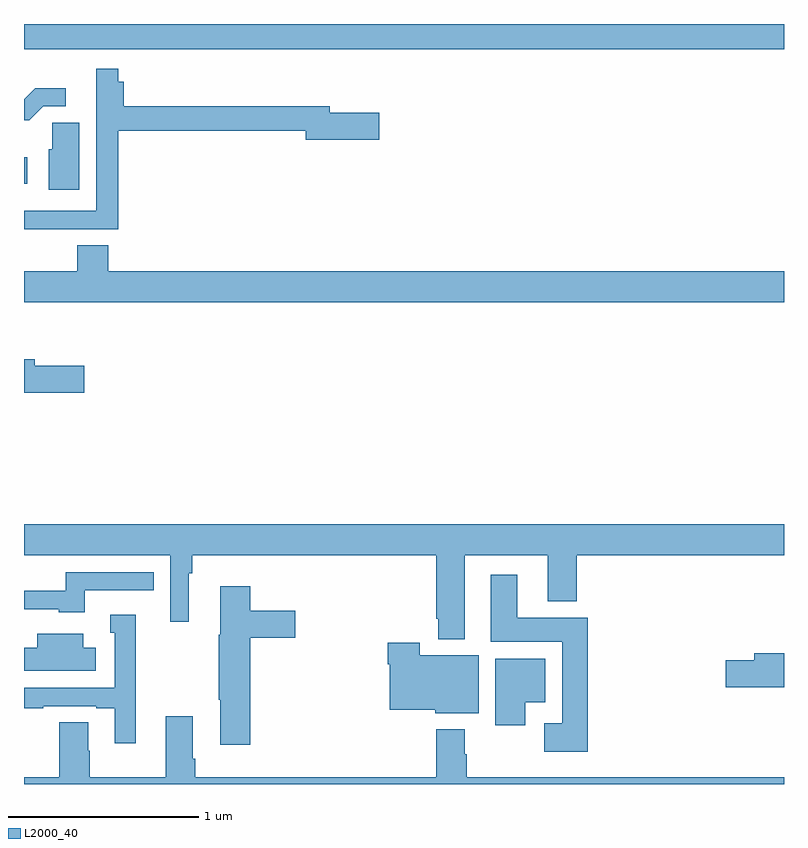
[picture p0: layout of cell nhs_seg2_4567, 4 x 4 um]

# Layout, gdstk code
import gdstk
lib = gdstk.Library(unit=1e-6, precision=1e-09)
def R(c, l, rs):  # rectangles x0, y0, x1, y1
    for r in rs: c.add(gdstk.rectangle(r[:2], r[2:], *l))
def P(c, l, *ps):  # polygons
    for p in ps: c.add(gdstk.Polygon(p, *l))
L2000_40 = (2000, 40)

nhs_seg2_4567 = lib.new_cell('nhs_seg2_4567')
R(nhs_seg2_4567, L2000_40, [(359,614.96,359.017,615.1), (359,615.668,363,615.8)])
P(nhs_seg2_4567, L2000_40, [(359.195,614.721),(359.495,614.721),(359.495,615.238),(360.482,615.238),(360.482,615.191),(360.871,615.191),(360.871,615.333),(360.61,615.333),(360.61,615.367),(359.525,615.367),(359.525,615.496),(359.495,615.496),(359.495,615.565),(359.379,615.565),(359.379,614.817),(359,614.817),(359,614.719),(359.195,614.719)],
  [(359.1,615.366),(359.221,615.366),(359.221,615.463),(359.059,615.463),(359,615.404),(359,615.293),(359.027,615.293)],
  [(359.29,615.281),(359.148,615.281),(359.148,615.141),(359.129,615.141),(359.129,614.928),(359.29,614.928)],
  [(363,614.5),(359.444,614.5),(359.444,614.636),(359.279,614.636),(359.279,614.5),(359,614.5),(359,614.336),(363,614.336)],
  [(359.317,614.001),(359.056,614.001),(359.056,614.035),(359,614.035),(359,613.859),(359.317,613.859)],
  [(361.321,613.004),(361.757,613.004),(361.757,612.761),(361.91,612.761),(361.91,613.004),(363,613.004),(363,613.168),(359,613.168),(359,613.004),(359.769,613.004),(359.769,612.654),(359.866,612.654),(359.866,612.908),(359.885,612.908),(359.885,613.004),(361.169,613.004),(361.169,612.67),(361.181,612.67),(361.181,612.563),(361.321,612.563)],
  [(359.32,612.819),(359.684,612.819),(359.684,612.915),(359.221,612.915),(359.221,612.816),(359,612.816),(359,612.72),(359.184,612.72),(359.184,612.704),(359.32,612.704)],
  [(361.967,612.676),(361.597,612.676),(361.597,612.901),(361.457,612.901),(361.457,612.548),(361.832,612.548),(361.832,612.121),(361.737,612.121),(361.737,611.969),(361.967,611.969)],
  [(360.191,612.569),(360.427,612.569),(360.427,612.711),(360.191,612.711),(360.191,612.841),(360.032,612.841),(360.032,612.585),(360.025,612.585),(360.025,612.244),(360.032,612.244),(360.032,612.006),(360.191,612.006)],
  [(359.587,612.691),(359.453,612.691),(359.453,612.597),(359.478,612.597),(359.478,612.306),(359,612.306),(359,612.198),(359.102,612.198),(359.102,612.21),(359.381,612.21),(359.381,612.198),(359.477,612.198),(359.477,612.015),(359.587,612.015)],
  [(359.377,612.517),(359.311,612.517),(359.311,612.592),(359.069,612.592),(359.069,612.517),(359,612.517),(359,612.395),(359.377,612.395)],
  [(361.393,612.478),(361.084,612.478),(361.084,612.544),(360.914,612.544),(360.914,612.431),(360.926,612.431),(360.926,612.191),(361.164,612.191),(361.164,612.173),(361.393,612.173)],
  [(363,612.488),(362.843,612.488),(362.843,612.452),(362.694,612.452),(362.694,612.31),(363,612.31)],
  [(361.639,612.23),(361.744,612.23),(361.744,612.46),(361.481,612.46),(361.481,612.108),(361.639,612.108)],
  [(359.186,612.125),(359.186,611.836),(359,611.836),(359,611.8),(363,611.8),(363,611.836),(361.329,611.836),(361.329,611.957),(361.321,611.957),(361.321,612.088),(361.169,612.088),(361.169,611.836),(359.9,611.836),(359.9,611.932),(359.887,611.932),(359.887,612.157),(359.747,612.157),(359.747,611.836),(359.346,611.836),(359.346,611.975),(359.338,611.975),(359.338,612.125)])

lib.write_gds('nhs_seg2_4567.gds')
